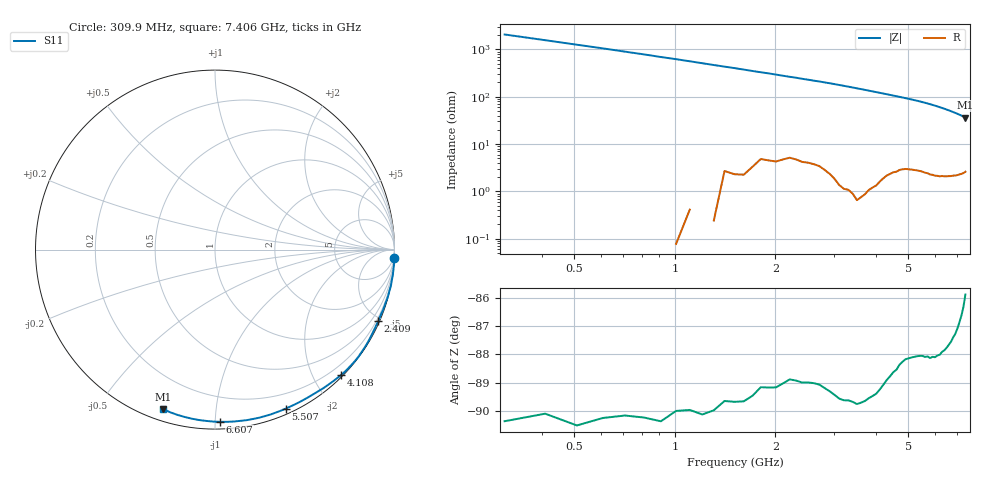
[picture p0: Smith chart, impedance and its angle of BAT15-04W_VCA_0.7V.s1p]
! Infineon Technologies  Discrete & RF Semiconductors
! BAT15-04W-E6327
! VCA = 0.7 V
! One-Port S-Parameters
# Hz  S  MA  R  50
!f  S11
!Hz  Mag  Ang
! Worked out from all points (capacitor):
!   72 points, 309.9 MHz to 7.406 GHz, reference 50 ohm
!   read as one part to ground: C = 248 fF near 309.9 MHz
!   lowest |Z| = 36.3 ohm at 7.406 GHz (marker M1)
!   S11 on the Smith chart (normalised r, x): 309.9 MHz: -0, -41; 2.409 GHz: 0.08, -4.78; 4.108 GHz: 0.03, -2.42; 5.507 GHz: 0.05, -1.54; 6.607 GHz: 0.04, -1.03; 7.406 GHz: 0.05, -0.72
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3.0985e8  1 -2.8
9.0955e8  1.001 -8.3
1.2094e9  1 -11.2
1.6092e9  0.9984 -15.2
2.10895e9  0.9941 -20.4
2.30885e9  0.9929 -22.4
2.4088e9  0.993 -23.6
2.70865e9  0.9927 -26.8
3.0085e9  0.995 -30.3
3.2084e9  0.9964 -32.8
3.50825e9  0.9974 -36.8
3.6082e9  0.9968 -38.0
3.90805e9  0.9938 -42.2
4.10795e9  0.9906 -44.9
4.6077e9  0.9801 -52.0
4.8076e9  0.9754 -54.9
5.2074e9  0.9712 -60.9
5.4073e9  0.9699 -64.2
5.50725e9  0.9695 -66.0
5.70715e9  0.969 -69.5
6.007e9  0.9684 -75.3
6.2069e9  0.9665 -79.5
6.4068e9  0.9635 -83.8
6.6067e9  0.96 -88.3
6.8066e9  0.9557 -92.9
7.0065e9  0.951 -97.7
7.2064e9  0.9443 -102.8
7.4063e9  0.9341 -108.0
